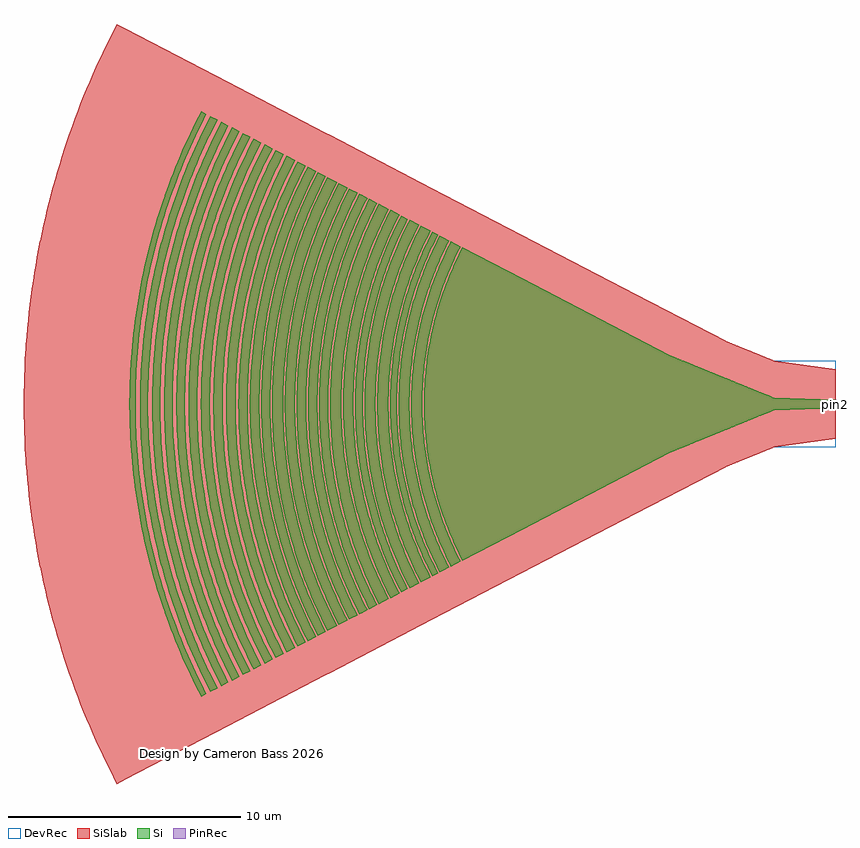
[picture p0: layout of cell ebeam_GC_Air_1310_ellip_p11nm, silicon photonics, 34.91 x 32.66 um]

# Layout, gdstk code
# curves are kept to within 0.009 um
import gdstk
lib = gdstk.Library(unit=1e-6, precision=1e-09)
def P(c, l, *ps):  # polygons
    for p in ps: c.add(gdstk.Polygon(p, *l))
Si = (1, 0)
PinRec = (1, 10)
SiSlab = (2, 0)
DevRec = (68, 0)

ebeam_gc_air_1310_ellip_ = lib.new_cell('ebeam_GC_Air_1310_ellip_p11nm')
P(ebeam_gc_air_1310_ellip_, Si, [(-16.053,-6.731),(-16.42,-5.974),(-16.794,-5.057),(-17.106,-4.117),(-17.289,-3.434),(-17.465,-2.603),(-17.592,-1.764),(-17.67,-0.919),(-17.698,-0.071),(-17.67,0.919),(-17.592,1.764),(-17.465,2.604),(-17.289,3.434),(-17.106,4.117),(-16.794,5.057),(-16.42,5.974),(-16.053,6.731),(-7.088,2.067),(-3.18,0.474),(-2.873,0.36),(-2.674,0.267),(0,0.175),(0,-0.175),(-2.659,-0.262),(-2.842,-0.347),(-3.181,-0.474),(-7.088,-2.067)],
  [(-16.545,-6.986),(-16.923,-6.203),(-17.26,-5.389),(-17.549,-4.556),(-17.79,-3.709),(-17.981,-2.848),(-18.121,-1.977),(-18.22,-0.955),(-18.25,-0.073),(-18.229,0.808),(-18.139,1.832),(-18.008,2.704),(-17.825,3.566),(-17.593,4.416),(-17.26,5.389),(-16.923,6.204),(-16.545,6.987),(-16.122,6.767),(-16.491,6.005),(-16.818,5.217),(-17.098,4.412),(-17.33,3.59),(-17.541,2.618),(-17.669,1.774),(-17.756,0.782),(-17.776,0.071),(-17.756,-0.782),(-17.669,-1.774),(-17.541,-2.617),(-17.364,-3.452),(-17.139,-4.276),(-16.868,-5.084),(-16.491,-6.005),(-16.122,-6.767)],
  [(-17.026,-7.237),(-17.417,-6.427),(-17.766,-5.584),(-18.065,-4.721),(-18.315,-3.843),(-18.512,-2.951),(-18.657,-2.049),(-18.75,-1.141),(-18.777,-0.684),(-18.791,-0.076),(-18.769,0.837),(-18.694,1.747),(-18.637,2.201),(-18.54,2.801),(-18.351,3.695),(-18.197,4.284),(-18.066,4.721),(-17.766,5.584),(-17.417,6.427),(-17.026,7.237),(-16.613,7.023),(-17.054,6.101),(-17.385,5.279),(-17.624,4.581),(-17.901,3.584),(-18.084,2.718),(-18.217,1.842),(-18.298,0.959),(-18.328,0.074),(-18.307,-0.811),(-18.217,-1.842),(-18.084,-2.718),(-17.901,-3.584),(-17.667,-4.439),(-17.385,-5.279),(-17.054,-6.101),(-16.613,-7.023)],
  [(-17.346,-7.404),(-17.746,-6.576),(-18.103,-5.713),(-18.409,-4.83),(-18.665,-3.932),(-18.867,-3.019),(-18.948,-2.559),(-19.035,-1.942),(-19.121,-1.012),(-19.152,-0.078),(-19.13,0.857),(-19.035,1.942),(-18.895,2.866),(-18.702,3.781),(-18.456,4.681),(-18.158,5.567),(-17.99,6.003),(-17.746,6.576),(-17.346,7.404),(-17.095,7.273),(-17.55,6.32),(-17.784,5.755),(-17.945,5.325),(-18.094,4.89),(-18.271,4.305),(-18.39,3.862),(-18.528,3.266),(-18.692,2.362),(-18.788,1.604),(-18.847,0.841),(-18.869,0.077),(-18.854,-0.689),(-18.803,-1.451),(-18.692,-2.362),(-18.559,-3.116),(-18.462,-3.564),(-18.312,-4.157),(-18.186,-4.599),(-17.996,-5.18),(-17.784,-5.754),(-17.55,-6.32),(-17.095,-7.273)],
  [(-17.842,-7.662),(-18.255,-6.806),(-18.507,-6.213),(-18.681,-5.762),(-18.99,-4.845),(-19.244,-3.913),(-19.444,-2.966),(-19.588,-2.01),(-19.677,-1.047),(-19.71,-0.08),(-19.686,0.887),(-19.607,1.85),(-19.472,2.808),(-19.351,3.441),(-19.244,3.913),(-18.99,4.845),(-18.681,5.762),(-18.507,6.213),(-18.255,6.807),(-17.842,7.662),(-17.415,7.44),(-17.881,6.466),(-18.176,5.741),(-18.485,4.854),(-18.74,3.951),(-18.972,2.88),(-19.112,1.952),(-19.176,1.329),(-19.208,0.86),(-19.23,0.078),(-19.208,-0.86),(-19.176,-1.329),(-19.112,-1.952),(-18.972,-2.88),(-18.777,-3.798),(-18.485,-4.854),(-18.231,-5.594),(-17.881,-6.466),(-17.415,-7.44)],
  [(-18.322,-7.912),(-18.749,-7.027),(-19.009,-6.415),(-19.188,-5.95),(-19.508,-5.003),(-19.77,-4.04),(-19.976,-3.063),(-20.126,-2.075),(-20.217,-1.082),(-20.251,-0.083),(-20.227,0.916),(-20.179,1.579),(-20.126,2.075),(-19.976,3.063),(-19.77,4.04),(-19.508,5.003),(-19.301,5.637),(-19.13,6.106),(-18.749,7.029),(-18.322,7.912),(-17.912,7.699),(-18.393,6.691),(-18.756,5.789),(-19.065,4.869),(-19.321,3.931),(-19.522,2.98),(-19.667,2.02),(-19.757,1.052),(-19.79,0.081),(-19.766,-0.89),(-19.686,-1.859),(-19.602,-2.501),(-19.522,-2.98),(-19.321,-3.93),(-19.065,-4.868),(-18.756,-5.789),(-18.393,-6.691),(-17.912,-7.699)],
  [(-18.684,-8.1),(-19.121,-7.195),(-19.512,-6.25),(-19.686,-5.77),(-19.898,-5.122),(-20.167,-4.136),(-20.378,-3.136),(-20.531,-2.124),(-20.625,-1.107),(-20.659,-0.085),(-20.635,0.937),(-20.551,1.956),(-20.408,2.968),(-20.28,3.637),(-20.167,4.136),(-20.04,4.631),(-19.848,5.284),(-19.512,6.25),(-19.121,7.194),(-18.684,8.1),(-18.391,7.949),(-18.681,7.364),(-18.955,6.754),(-19.144,6.29),(-19.376,5.662),(-19.534,5.186),(-19.721,4.544),(-19.885,3.895),(-19.991,3.406),(-20.136,2.582),(-20.241,1.753),(-20.306,0.919),(-20.33,0.084),(-20.306,-0.919),(-20.241,-1.753),(-20.136,-2.582),(-19.991,-3.406),(-19.885,-3.895),(-19.721,-4.544),(-19.534,-5.186),(-19.376,-5.662),(-19.144,-6.289),(-18.955,-6.754),(-18.681,-7.364),(-18.391,-7.948)],
  [(-19.142,-8.339),(-19.592,-7.408),(-19.867,-6.761),(-20.056,-6.271),(-20.392,-5.273),(-20.669,-4.258),(-20.886,-3.228),(-21.044,-2.187),(-21.14,-1.14),(-21.176,-0.088),(-21.166,0.614),(-21.14,1.14),(-21.044,2.187),(-20.886,3.228),(-20.669,4.258),(-20.392,5.273),(-20.056,6.271),(-19.663,7.247),(-19.446,7.726),(-19.142,8.339),(-18.754,8.137),(-19.051,7.538),(-19.263,7.071),(-19.646,6.118),(-19.973,5.145),(-20.244,4.154),(-20.456,3.15),(-20.61,2.135),(-20.704,1.112),(-20.739,0.086),(-20.714,-0.941),(-20.63,-1.965),(-20.486,-2.981),(-20.392,-3.486),(-20.244,-4.154),(-19.973,-5.145),(-19.646,-6.118),(-19.263,-7.071),(-19.051,-7.538),(-18.754,-8.137)],
  [(-19.641,-8.599),(-20.103,-7.641),(-20.518,-6.638),(-20.703,-6.128),(-20.928,-5.439),(-21.17,-4.568),(-21.404,-3.508),(-21.577,-2.436),(-21.687,-1.356),(-21.718,-0.814),(-21.736,-0.09),(-21.71,0.995),(-21.62,2.077),(-21.469,3.152),(-21.333,3.862),(-21.213,4.393),(-20.928,5.439),(-20.703,6.128),(-20.518,6.638),(-20.103,7.641),(-19.641,8.599),(-19.212,8.376),(-19.517,7.76),(-19.736,7.279),(-20.069,6.463),(-20.249,5.966),(-20.468,5.297),(-20.703,4.447),(-20.931,3.416),(-21.1,2.372),(-21.178,1.672),(-21.219,1.144),(-21.255,0.088),(-21.25,-0.441),(-21.219,-1.144),(-21.122,-2.197),(-20.964,-3.242),(-20.745,-4.276),(-20.468,-5.296),(-20.306,-5.8),(-20.069,-6.463),(-19.664,-7.44),(-19.212,-8.376)],
  [(-20.056,-8.815),(-20.531,-7.831),(-20.956,-6.803),(-21.321,-5.751),(-21.625,-4.681),(-21.865,-3.595),(-22.042,-2.496),(-22.155,-1.39),(-22.187,-0.834),(-22.205,-0.093),(-22.178,1.02),(-22.087,2.128),(-22.017,2.681),(-21.899,3.413),(-21.669,4.502),(-21.376,5.574),(-21.206,6.105),(-20.956,6.803),(-20.531,7.83),(-20.056,8.815),(-19.714,8.637),(-19.949,8.167),(-20.253,7.508),(-20.596,6.666),(-20.954,5.637),(-21.25,4.587),(-21.486,3.523),(-21.58,2.986),(-21.682,2.267),(-21.782,1.18),(-21.819,0.091),(-21.809,-0.636),(-21.74,-1.724),(-21.635,-2.626),(-21.451,-3.701),(-21.335,-4.233),(-21.158,-4.939),(-20.954,-5.636),(-20.722,-6.325),(-20.464,-7.004),(-20.253,-7.507),(-19.949,-8.167),(-19.714,-8.637)],
  [(-20.476,-9.034),(-20.964,-8.024),(-21.4,-6.97),(-21.773,-5.893),(-21.938,-5.347),(-22.085,-4.797),(-22.256,-4.056),(-22.366,-3.497),(-22.536,-2.369),(-22.641,-1.235),(-22.68,-0.095),(-22.652,1.045),(-22.558,2.181),(-22.399,3.31),(-22.295,3.87),(-22.13,4.613),(-21.83,5.712),(-21.656,6.255),(-21.4,6.97),(-20.964,8.023),(-20.476,9.034),(-20.126,8.852),(-20.604,7.862),(-21.031,6.831),(-21.397,5.776),(-21.606,5.061),(-21.746,4.519),(-21.977,3.427),(-22.144,2.323),(-22.246,1.209),(-22.274,0.652),(-22.284,0.093),(-22.266,-0.838),(-22.203,-1.767),(-22.095,-2.691),(-21.907,-3.793),(-21.789,-4.338),(-21.606,-5.061),(-21.451,-5.598),(-21.222,-6.305),(-20.964,-7.004),(-20.753,-7.522),(-20.448,-8.201),(-20.126,-8.852)],
  [(-20.911,-9.26),(-21.412,-8.222),(-21.858,-7.143),(-22.058,-6.594),(-22.3,-5.853),(-22.561,-4.916),(-22.695,-4.346),(-22.849,-3.583),(-23.024,-2.428),(-23.131,-1.265),(-23.17,-0.097),(-23.165,0.487),(-23.131,1.265),(-23.024,2.428),(-22.849,3.584),(-22.607,4.727),(-22.3,5.853),(-21.927,6.961),(-21.717,7.505),(-21.412,8.223),(-20.911,9.26),(-20.55,9.072),(-20.882,8.402),(-21.118,7.882),(-21.546,6.819),(-21.855,5.917),(-22.018,5.369),(-22.212,4.63),(-22.449,3.511),(-22.62,2.38),(-22.725,1.239),(-22.764,0.096),(-22.745,-0.859),(-22.681,-1.81),(-22.57,-2.757),(-22.377,-3.886),(-22.212,-4.63),(-22.069,-5.185),(-21.855,-5.917),(-21.675,-6.46),(-21.479,-6.998),(-21.194,-7.706),(-20.882,-8.402),(-20.55,-9.072)],
  [(-21.362,-9.495),(-21.623,-8.975),(-21.875,-8.432),(-22.188,-7.696),(-22.403,-7.138),(-22.786,-6.002),(-23.101,-4.847),(-23.349,-3.675),(-23.528,-2.49),(-23.638,-1.297),(-23.678,-0.1),(-23.673,0.499),(-23.638,1.298),(-23.528,2.49),(-23.349,3.675),(-23.101,4.847),(-22.786,6.002),(-22.403,7.138),(-22.188,7.697),(-21.956,8.249),(-21.709,8.795),(-21.362,9.495),(-20.98,9.296),(-21.484,8.254),(-21.933,7.171),(-22.318,6.063),(-22.485,5.501),(-22.683,4.744),(-22.926,3.597),(-23.102,2.438),(-23.209,1.27),(-23.238,0.685),(-23.249,0.098),(-23.244,-0.489),(-23.221,-1.074),(-23.164,-1.855),(-23.102,-2.438),(-22.926,-3.597),(-22.683,-4.744),(-22.485,-5.501),(-22.318,-6.063),(-21.933,-7.17),(-21.484,-8.254),(-20.98,-9.296)],
  [(-21.85,-9.748),(-22.116,-9.217),(-22.375,-8.659),(-22.619,-8.094),(-22.845,-7.522),(-23.249,-6.36),(-23.426,-5.771),(-23.585,-5.177),(-23.77,-4.377),(-23.888,-3.774),(-23.989,-3.167),(-24.072,-2.557),(-24.185,-1.332),(-24.215,-0.717),(-24.226,-0.102),(-24.197,1.128),(-24.096,2.354),(-23.989,3.167),(-23.888,3.774),(-23.77,4.377),(-23.634,4.978),(-23.481,5.574),(-23.31,6.164),(-23.122,6.751),(-22.917,7.331),(-22.696,7.904),(-22.458,8.471),(-22.116,9.217),(-21.85,9.749),(-21.431,9.531),(-21.947,8.463),(-22.407,7.353),(-22.802,6.217),(-23.129,5.06),(-23.268,4.475),(-23.389,3.886),(-23.581,2.698),(-23.703,1.502),(-23.738,0.901),(-23.757,0.1),(-23.728,-1.102),(-23.67,-1.902),(-23.606,-2.5),(-23.426,-3.689),(-23.177,-4.865),(-22.86,-6.026),(-22.678,-6.598),(-22.478,-7.165),(-22.028,-8.281),(-21.78,-8.828),(-21.431,-9.531)],
  [(-22.264,-9.964),(-22.801,-8.85),(-23.05,-8.272),(-23.282,-7.688),(-23.496,-7.098),(-23.757,-6.3),(-24.088,-5.088),(-24.347,-3.857),(-24.45,-3.237),(-24.535,-2.613),(-24.602,-1.988),(-24.651,-1.362),(-24.693,-0.105),(-24.663,1.153),(-24.56,2.405),(-24.481,3.03),(-24.384,3.651),(-24.269,4.269),(-24.088,5.088),(-23.757,6.3),(-23.564,6.9),(-23.282,7.688),(-23.05,8.273),(-22.801,8.85),(-22.264,9.964),(-21.919,9.785),(-22.275,9.065),(-22.53,8.504),(-22.845,7.743),(-23.062,7.164),(-23.262,6.581),(-23.5,5.793),(-23.66,5.196),(-23.846,4.394),(-23.965,3.788),(-24.066,3.178),(-24.195,2.158),(-24.275,1.131),(-24.305,0.103),(-24.285,-0.926),(-24.215,-1.953),(-24.096,-2.975),(-23.887,-4.192),(-23.757,-4.795),(-23.555,-5.594),(-23.262,-6.58),(-23.062,-7.164),(-22.769,-7.934),(-22.53,-8.503),(-22.275,-9.065),(-21.919,-9.785)],
  [(-22.698,-10.19),(-22.978,-9.632),(-23.249,-9.049),(-23.504,-8.458),(-23.741,-7.861),(-23.96,-7.257),(-24.226,-6.442),(-24.405,-5.824),(-24.565,-5.202),(-24.707,-4.574),(-24.83,-3.944),(-24.936,-3.31),(-25.023,-2.672),(-25.091,-2.033),(-25.141,-1.392),(-25.172,-0.75),(-25.184,-0.107),(-25.178,0.536),(-25.153,1.179),(-25.11,1.82),(-25.048,2.459),(-24.967,3.097),(-24.868,3.733),(-24.707,4.574),(-24.565,5.202),(-24.405,5.824),(-24.226,6.442),(-23.816,7.661),(-23.585,8.26),(-23.336,8.853),(-22.978,9.632),(-22.698,10.19),(-22.336,10.002),(-22.701,9.265),(-22.962,8.691),(-23.284,7.913),(-23.505,7.322),(-23.774,6.525),(-23.953,5.92),(-24.117,5.31),(-24.307,4.491),(-24.499,3.457),(-24.642,2.415),(-24.733,1.366),(-24.764,0.737),(-24.776,0.105),(-24.756,-0.946),(-24.719,-1.576),(-24.664,-2.205),(-24.532,-3.248),(-24.349,-4.285),(-24.216,-4.901),(-24.01,-5.717),(-23.774,-6.525),(-23.505,-7.322),(-23.284,-7.913),(-22.962,-8.691),(-22.701,-9.265),(-22.336,-10.002)],
  [(-23.13,-10.415),(-23.419,-9.839),(-23.696,-9.244),(-23.956,-8.64),(-24.199,-8.03),(-24.423,-7.413),(-24.63,-6.789),(-24.819,-6.16),(-24.989,-5.526),(-25.14,-4.887),(-25.273,-4.244),(-25.387,-3.597),(-25.482,-2.947),(-25.558,-2.295),(-25.63,-1.422),(-25.662,-0.766),(-25.674,-0.109),(-25.668,0.547),(-25.643,1.204),(-25.598,1.859),(-25.535,2.512),(-25.452,3.165),(-25.313,4.029),(-25.186,4.673),(-25.041,5.314),(-24.877,5.95),(-24.695,6.58),(-24.494,7.207),(-24.276,7.826),(-24.039,8.438),(-23.785,9.043),(-23.514,9.642),(-23.13,10.415),(-22.784,10.236),(-23.159,9.477),(-23.512,8.693),(-23.756,8.095),(-23.982,7.49),(-24.257,6.675),(-24.441,6.056),(-24.66,5.223),(-24.803,4.594),(-25,3.536),(-25.093,2.898),(-25.168,2.256),(-25.251,1.183),(-25.283,0.108),(-25.262,-0.968),(-25.168,-2.256),(-25.093,-2.897),(-25,-3.536),(-24.803,-4.594),(-24.66,-5.223),(-24.441,-6.056),(-24.257,-6.675),(-23.982,-7.49),(-23.756,-8.095),(-23.426,-8.89),(-23.159,-9.477),(-22.784,-10.235)],
  [(-23.599,-10.66),(-23.898,-10.064),(-24.182,-9.456),(-24.448,-8.838),(-24.696,-8.214),(-24.926,-7.583),(-25.137,-6.945),(-25.331,-6.301),(-25.505,-5.653),(-25.66,-4.998),(-25.836,-4.121),(-25.947,-3.458),(-26.038,-2.792),(-26.109,-2.124),(-26.161,-1.455),(-26.194,-0.783),(-26.207,-0.112),(-26.2,0.56),(-26.174,1.232),(-26.129,1.902),(-26.064,2.57),(-25.979,3.236),(-25.875,3.901),(-25.707,4.78),(-25.558,5.436),(-25.391,6.086),(-25.204,6.731),(-24.998,7.371),(-24.775,8.005),(-24.533,8.631),(-24.273,9.25),(-23.995,9.863),(-23.599,10.66),(-23.242,10.474),(-23.534,9.892),(-23.902,9.093),(-24.158,8.484),(-24.471,7.661),(-24.685,7.037),(-24.941,6.194),(-25.165,5.342),(-25.311,4.699),(-25.513,3.616),(-25.662,2.526),(-25.725,1.869),(-25.77,1.21),(-25.802,0.11),(-25.781,-0.99),(-25.743,-1.649),(-25.685,-2.307),(-25.547,-3.399),(-25.438,-4.05),(-25.311,-4.699),(-25.165,-5.342),(-24.941,-6.194),(-24.685,-7.036),(-24.471,-7.66),(-24.158,-8.484),(-23.902,-9.093),(-23.534,-9.892),(-23.242,-10.474)],
  [(-24.082,-10.911),(-24.391,-10.296),(-24.681,-9.673),(-24.954,-9.041),(-25.208,-8.403),(-25.443,-7.758),(-25.728,-6.886),(-25.919,-6.226),(-26.09,-5.561),(-26.242,-4.89),(-26.375,-4.216),(-26.488,-3.538),(-26.581,-2.856),(-26.654,-2.173),(-26.707,-1.488),(-26.741,-0.801),(-26.754,-0.114),(-26.747,0.573),(-26.721,1.26),(-26.674,1.945),(-26.581,2.857),(-26.488,3.538),(-26.375,4.216),(-26.242,4.89),(-26.09,5.561),(-25.919,6.226),(-25.728,6.886),(-25.443,7.758),(-25.208,8.403),(-24.954,9.042),(-24.587,9.882),(-24.082,10.911),(-23.73,10.728),(-24.032,10.126),(-24.409,9.308),(-24.755,8.475),(-24.992,7.842),(-25.28,6.988),(-25.473,6.34),(-25.703,5.468),(-25.852,4.81),(-26.059,3.702),(-26.212,2.586),(-26.31,1.463),(-26.343,0.789),(-26.356,0.113),(-26.334,-1.014),(-26.236,-2.362),(-26.094,-3.479),(-25.898,-4.589),(-25.755,-5.25),(-25.534,-6.123),(-25.279,-6.988),(-24.992,-7.842),(-24.755,-8.475),(-24.409,-9.308),(-24.032,-10.126),(-23.73,-10.728)],
  [(-24.552,-11.156),(-24.87,-10.524),(-25.167,-9.887),(-25.446,-9.241),(-25.705,-8.589),(-25.946,-7.929),(-26.237,-7.038),(-26.432,-6.364),(-26.608,-5.684),(-26.763,-4.998),(-26.899,-4.309),(-27.014,-3.616),(-27.109,-2.92),(-27.184,-2.221),(-27.239,-1.521),(-27.273,-0.819),(-27.286,-0.117),(-27.273,0.819),(-27.239,1.522),(-27.184,2.222),(-27.109,2.92),(-27.014,3.616),(-26.899,4.309),(-26.763,4.998),(-26.608,5.684),(-26.432,6.364),(-26.237,7.038),(-25.946,7.929),(-25.705,8.589),(-25.446,9.242),(-25.167,9.886),(-24.87,10.524),(-24.552,11.156),(-24.211,10.979),(-24.623,10.15),(-24.91,9.521),(-25.178,8.883),(-25.506,8.021),(-25.801,7.148),(-25.998,6.486),(-26.178,5.817),(-26.386,4.92),(-26.598,3.787),(-26.754,2.645),(-26.855,1.497),(-26.888,0.807),(-26.901,0.115),(-26.895,-0.576),(-26.868,-1.267),(-26.778,-2.416),(-26.698,-3.103),(-26.598,-3.787),(-26.386,-4.92),(-26.178,-5.817),(-25.998,-6.485),(-25.801,-7.148),(-25.506,-8.021),(-25.178,-8.883),(-24.91,-9.521),(-24.623,-10.15),(-24.211,-10.979)],
  [(-25.025,-11.402),(-25.351,-10.754),(-25.655,-10.104),(-25.939,-9.444),(-26.205,-8.777),(-26.45,-8.103),(-26.676,-7.421),(-26.884,-6.733),(-27.07,-6.04),(-27.235,-5.341),(-27.381,-4.638),(-27.505,-3.932),(-27.61,-3.221),(-27.693,-2.508),(-27.756,-1.793),(-27.807,-0.837),(-27.821,-0.12),(-27.814,0.598),(-27.786,1.316),(-27.737,2.032),(-27.668,2.746),(-27.577,3.459),(-27.425,4.403),(-27.286,5.108),(-27.127,5.808),(-26.948,6.503),(-26.748,7.193),(-26.528,7.877),(-26.205,8.777),(-25.939,9.444),(-25.655,10.104),(-25.351,10.754),(-25.025,11.402),(-24.691,11.229),(-25.012,10.591),(-25.407,9.735),(-25.681,9.083),(-26.017,8.202),(-26.246,7.534),(-26.52,6.632),(-26.704,5.948),(-26.917,5.031),(-27.133,3.872),(-27.293,2.705),(-27.362,2.001),(-27.41,1.295),(-27.444,0.118),(-27.437,-0.589),(-27.41,-1.295),(-27.318,-2.47),(-27.17,-3.639),(-27.054,-4.337),(-26.917,-5.031),(-26.704,-5.948),(-26.52,-6.631),(-26.246,-7.534),(-26.017,-8.202),(-25.681,-9.083),(-25.407,-9.735),(-25.012,-10.591),(-24.691,-11.228)],
  [(-25.487,-11.642),(-25.82,-10.98),(-26.13,-10.316),(-26.42,-9.642),(-26.691,-8.961),(-26.942,-8.273),(-27.173,-7.577),(-27.385,-6.875),(-27.575,-6.167),(-27.796,-5.215),(-27.937,-4.496),(-28.058,-3.773),(-28.157,-3.046),(-28.235,-2.318),(-28.292,-1.587),(-28.327,-0.855),(-28.342,-0.122),(-28.327,0.855),(-28.292,1.587),(-28.235,2.318),(-28.157,3.046),(-28.058,3.773),(-27.937,4.496),(-27.796,5.215),(-27.633,5.93),(-27.45,6.64),(-27.247,7.343),(-27.022,8.042),(-26.691,8.962),(-26.42,9.642),(-26.13,10.315),(-25.82,10.98),(-25.487,11.642),(-25.165,11.475),(-25.598,10.605),(-25.897,9.948),(-26.267,9.058),(-26.521,8.381),(-26.829,7.469),(-27.035,6.777),(-27.281,5.845),(-27.441,5.141),(-27.662,3.957),(-27.767,3.241),(-27.851,2.525),(-27.944,1.324),(-27.979,0.121),(-27.956,-1.083),(-27.914,-1.804),(-27.851,-2.524),(-27.767,-3.241),(-27.662,-3.956),(-27.441,-5.14),(-27.223,-6.078),(-27.035,-6.776),(-26.829,-7.469),(-26.521,-8.381),(-26.267,-9.058),(-25.897,-9.948),(-25.598,-10.605),(-25.165,-11.475)],
  [(-25.952,-11.884),(-26.292,-11.208),(-26.609,-10.53),(-26.905,-9.843),(-27.182,-9.148),(-27.438,-8.445),(-27.674,-7.734),(-27.89,-7.018),(-28.084,-6.295),(-28.309,-5.323),(-28.454,-4.589),(-28.576,-3.851),(-28.678,-3.109),(-28.758,-2.366),(-28.816,-1.62),(-28.852,-0.872),(-28.866,-0.125),(-28.852,0.872),(-28.816,1.62),(-28.758,2.366),(-28.678,3.11),(-28.576,3.852),(-28.454,4.589),(-28.309,5.323),(-28.143,6.053),(-27.957,6.778),(-27.749,7.496),(-27.519,8.208),(-27.27,8.914),(-27,9.612),(-26.609,10.53),(-26.292,11.208),(-25.952,11.885),(-25.635,11.72),(-25.971,11.053),(-26.383,10.16),(-26.669,9.479),(-27.02,8.559),(-27.259,7.862),(-27.546,6.921),(-27.737,6.208),(-27.96,5.25),(-28.185,4.041),(-28.352,2.823),(-28.424,2.088),(-28.474,1.352),(-28.51,0.123),(-28.502,-0.615),(-28.474,-1.352),(-28.378,-2.578),(-28.292,-3.311),(-28.185,-4.04),(-27.96,-5.25),(-27.737,-6.207),(-27.546,-6.92),(-27.259,-7.862),(-27.02,-8.559),(-26.669,-9.479),(-26.383,-10.159),(-25.971,-11.052),(-25.635,-11.72)],
  [(-26.411,-12.123),(-26.758,-11.433),(-27.081,-10.742),(-27.383,-10.04),(-27.665,-9.331),(-27.927,-8.614),(-28.244,-7.646),(-28.585,-6.422),(-28.815,-5.43),(-28.963,-4.681),(-29.088,-3.929),(-29.191,-3.172),(-29.273,-2.413),(-29.332,-1.653),(-29.369,-0.89),(-29.384,-0.127),(-29.376,0.636),(-29.347,1.399),(-29.295,2.16),(-29.221,2.92),(-29.125,3.677),(-28.963,4.681),(-28.815,5.43),(-28.646,6.175),(-28.456,6.914),(-28.244,7.647),(-28.009,8.373),(-27.755,9.093),(-27.48,9.805),(-27.081,10.742),(-26.758,11.433),(-26.411,12.123),(-26.104,11.964),(-26.556,11.056),(-26.868,10.371),(-27.16,9.676),(-27.432,8.974),(-27.762,8.026),(-27.985,7.306),(-28.25,6.337),(-28.424,5.605),(-28.577,4.867),(-28.708,4.125),(-28.878,2.882),(-28.988,1.631),(-29.024,0.879),(-29.039,0.126),(-29.031,-0.628),(-29.002,-1.38),(-28.905,-2.632),(-28.817,-3.38),(-28.708,-4.125),(-28.477,-5.359),(-28.25,-6.337),(-28.055,-7.064),(-27.839,-7.786),(-27.518,-8.737),(-27.253,-9.443),(-26.868,-10.371),(-26.556,-11.056),(-26.104,-11.964)],
  [(-26.881,-12.368),(-27.227,-11.678),(-27.557,-10.972),(-27.866,-10.256),(-28.245,-9.288),(-28.504,-8.554),(-28.743,-7.811),(-28.959,-7.062),(-29.154,-6.307),(-29.326,-5.546),(-29.476,-4.782),(-29.604,-4.013),(-29.71,-3.24),(-29.792,-2.465),(-29.853,-1.688),(-29.891,-0.909),(-29.906,-0.13),(-29.891,0.909),(-29.853,1.688),(-29.792,2.465),(-29.71,3.24),(-29.604,4.013),(-29.476,4.782),(-29.326,5.547),(-29.154,6.307),(-28.959,7.062),(-28.743,7.811),(-28.504,8.553),(-28.245,9.289),(-27.866,10.256),(-27.557,10.972),(-27.227,11.679),(-26.881,12.369),(-26.571,12.208),(-27.032,11.281),(-27.351,10.582),(-27.744,9.635),(-28.014,8.915),(-28.263,8.189),(-28.49,7.454),(-28.697,6.714),(-28.938,5.719),(-29.186,4.461),(-29.305,3.702),(-29.402,2.94),(-29.476,2.175),(-29.528,1.408),(-29.566,0.128),(-29.541,-1.152),(-29.496,-1.919),(-29.429,-2.685),(-29.268,-3.955),(-29.141,-4.714),(-28.993,-5.468),(-28.761,-6.465),(-28.561,-7.208),(-28.342,-7.945),(-28.014,-8.915),(-27.744,-9.635),(-27.351,-10.582),(-27.032,-11.281),(-26.571,-12.207)],
  [(-27.279,-12.576),(-27.639,-11.858),(-27.974,-11.141),(-28.287,-10.414),(-28.579,-9.678),(-28.836,-8.976),(-29.099,-8.183),(-29.327,-7.425),(-29.532,-6.661),(-29.714,-5.89),(-29.874,-5.115),(-30.012,-4.335),(-30.127,-3.552),(-30.244,-2.503),(-30.3,-1.795),(-30.344,-0.923),(-30.359,-0.132),(-30.351,0.659),(-30.321,1.451),(-30.267,2.241),(-30.16,3.29),(-30.053,4.075),(-29.923,4.856),(-29.77,5.632),(-29.595,6.405),(-29.398,7.171),(-29.178,7.931),(-28.936,8.686),(-28.672,9.432),(-28.387,10.17),(-27.974,11.141),(-27.639,11.859),(-27.279,12.576),(-27.05,12.457),(-27.512,11.525),(-27.837,10.811),(-28.238,9.844),(-28.514,9.108),(-28.848,8.117),(-29.073,7.364),(-29.276,6.606),(-29.457,5.843),(-29.616,5.073),(-29.752,4.3),(-29.929,3.004),(-30.044,1.7),(-30.082,0.916),(-30.097,0.131),(-30.072,-1.177),(-30.026,-1.961),(-29.957,-2.743),(-29.866,-3.523),(-29.752,-4.3),(-29.616,-5.073),(-29.457,-5.842),(-29.276,-6.606),(-29.073,-7.364),(-28.768,-8.366),(-28.514,-9.108),(-28.238,-9.844),(-27.837,-10.811),(-27.512,-11.525),(-27.05,-12.457)])
P(ebeam_gc_air_1310_ellip_, SiSlab, [(-30.904,-16.329),(-31.366,-15.41),(-31.801,-14.477),(-32.208,-13.533),(-32.588,-12.577),(-32.94,-11.61),(-33.264,-10.634),(-33.559,-9.648),(-33.825,-8.655),(-34.062,-7.654),(-34.27,-6.647),(-34.449,-5.634),(-34.598,-4.616),(-34.717,-3.594),(-34.807,-2.569),(-34.867,-1.543),(-34.9,-0.171),(-34.89,0.857),(-34.85,1.885),(-34.781,2.912),(-34.681,3.935),(-34.552,4.956),(-34.393,5.972),(-34.135,7.319),(-33.907,8.322),(-33.651,9.318),(-33.365,10.307),(-33.051,11.286),(-32.709,12.256),(-32.338,13.216),(-31.94,14.164),(-31.366,15.41),(-30.904,16.329),(-4.744,2.708),(-2.65,1.855),(0,1.5),(0,-1.5),(-2.65,-1.855),(-4.728,-2.7)])
P(ebeam_gc_air_1310_ellip_, DevRec, [(-30.904,-16.329),(-31.366,-15.41),(-31.801,-14.477),(-32.208,-13.533),(-32.588,-12.577),(-32.94,-11.61),(-33.264,-10.634),(-33.559,-9.648),(-33.825,-8.655),(-34.062,-7.654),(-34.27,-6.647),(-34.449,-5.634),(-34.598,-4.616),(-34.717,-3.594),(-34.807,-2.569),(-34.867,-1.543),(-34.9,-0.171),(-34.89,0.857),(-34.85,1.885),(-34.781,2.912),(-34.681,3.935),(-34.552,4.956),(-34.393,5.972),(-34.135,7.319),(-33.907,8.322),(-33.651,9.318),(-33.365,10.307),(-33.051,11.286),(-32.709,12.256),(-32.338,13.216),(-31.94,14.164),(-31.366,15.41),(-30.904,16.329),(-4.744,2.708),(-2.65,1.855),(0,1.855),(0,-1.855),(-2.65,-1.855),(-4.728,-2.7)])
ebeam_gc_air_1310_ellip_.add(gdstk.FlexPath([(-0.01,0),(0.01,0)], 0.35, ends="flush", simple_path=True, layer=1, datatype=10))  # PinRec
ebeam_gc_air_1310_ellip_.add(gdstk.Label('pin2', (0,0), layer=1, texttype=10))
ebeam_gc_air_1310_ellip_.add(gdstk.Label('Design by Cameron Bass 2026', (-25.94,-15.02), layer=10, texttype=0))

lib.write_gds('ebeam_GC_Air_1310_ellip_p11nm.gds')
